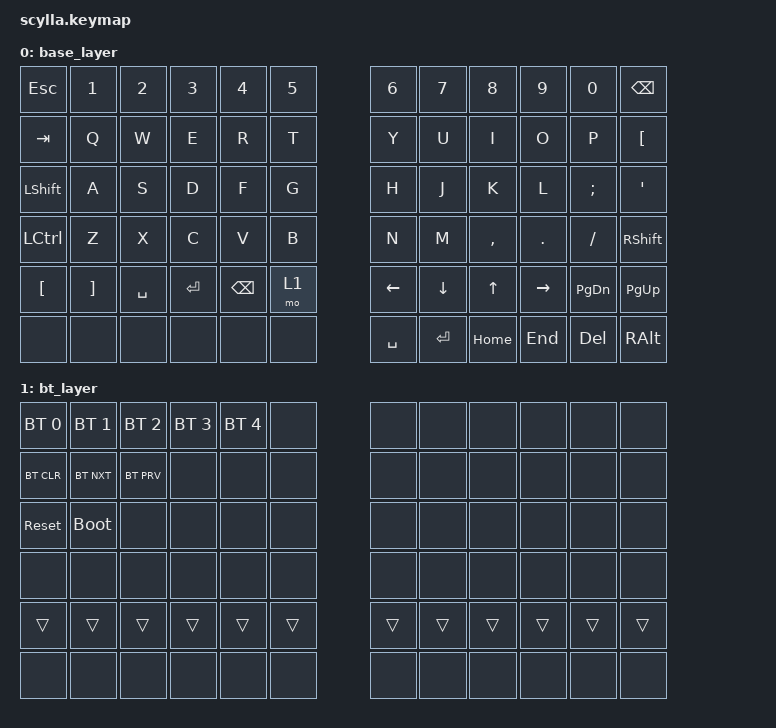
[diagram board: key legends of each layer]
#include <behaviors.dtsi>
#include <dt-bindings/zmk/keys.h>
#include <dt-bindings/zmk/bt.h>

/ {
    keymap {
        compatible = "zmk,keymap";

        /* -------------------------
         * LAYER 0: BASE
         * ------------------------- */
        base_layer {
            bindings = <
/* L0 Row 0 */
&kp ESC   &kp N1 &kp N2 &kp N3 &kp N4 &kp N5           &kp N6 &kp N7 &kp N8 &kp N9 &kp N0 &kp BSPC
/* L0 Row 1 */
&kp TAB   &kp Q  &kp W  &kp E  &kp R  &kp T            &kp Y  &kp U  &kp I  &kp O  &kp P  &kp LBKT
/* L0 Row 2 */
&kp LSHFT &kp A  &kp S  &kp D  &kp F  &kp G            &kp H  &kp J  &kp K  &kp L  &kp SEMI &kp SQT
/* L0 Row 3 */
&kp LCTRL &kp Z  &kp X  &kp C  &kp V  &kp B            &kp N  &kp M  &kp COMMA &kp DOT &kp FSLH &kp RSHFT

/* L0 Row 4: THUMBS */
&kp LBKT  &kp RBKT &kp SPACE &kp ENTER &kp BSPC &mo 1  &kp LEFT &kp DOWN &kp UP &kp RIGHT &kp PG_DN &kp PG_UP

/* L0 Row 5: DUMMY/EXTRA */
&none     &none    &none     &none     &none    &none  &kp SPACE &kp RET  &kp HOME &kp END &kp DEL &kp RALT
            >;
        };

        /* -------------------------
         * LAYER 1: BLUETOOTH
         * (утримуєш &mo 1 на лівому thumb -> цей шар)
         * ------------------------- */
        bt_layer {
            bindings = <
/* L1 Row 0 */
&bt BT_SEL 0 &bt BT_SEL 1 &bt BT_SEL 2 &bt BT_SEL 3 &bt BT_SEL 4 &none      &none &none &none &none &none &none
/* L1 Row 1 */
&bt BT_CLR   &bt BT_NXT   &bt BT_PRV   &none        &none        &none      &none &none &none &none &none &none
/* L1 Row 2 */
&sys_reset   &bootloader  &none        &none        &none        &none      &none &none &none &none &none &none
/* L1 Row 3 */
&none        &none        &none        &none        &none        &none      &none &none &none &none &none &none

/* L1 Row 4: THUMBS */
&trans       &trans       &trans       &trans       &trans       &trans     &trans &trans &trans &trans &trans &trans

/* L1 Row 5 */
&none        &none        &none        &none        &none        &none      &none &none &none &none &none &none
            >;
        };
    };
};
